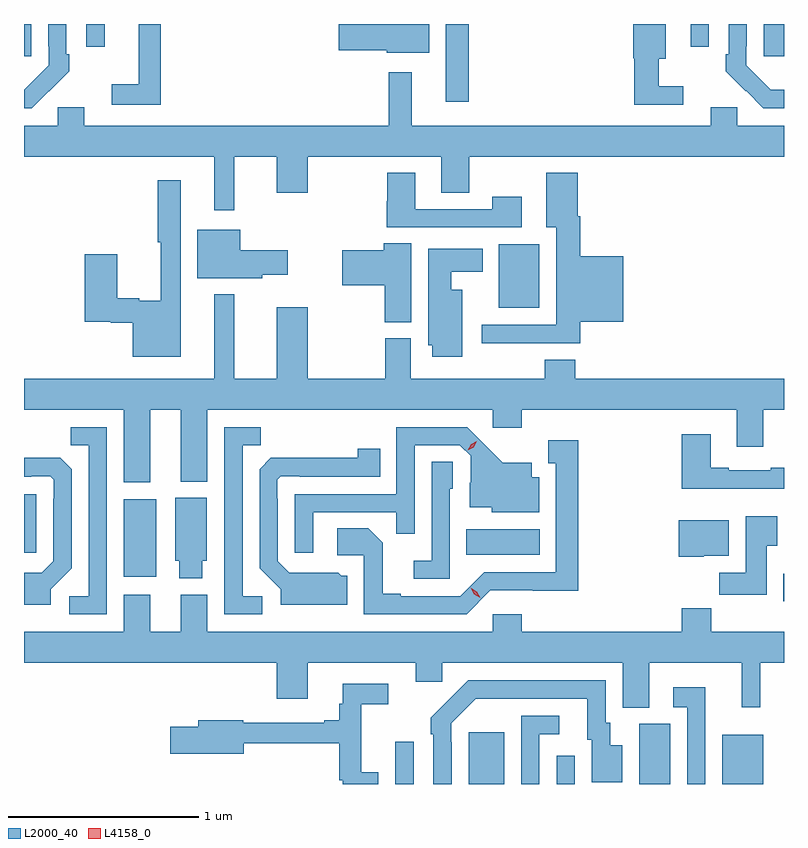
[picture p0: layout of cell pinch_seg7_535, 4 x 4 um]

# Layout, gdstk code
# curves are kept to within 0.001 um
import gdstk
lib = gdstk.Library(unit=1e-6, precision=1e-09)
def R(c, l, rs):  # rectangles x0, y0, x1, y1
    for r in rs: c.add(gdstk.rectangle(r[:2], r[2:], *l))
def P(c, l, *ps):  # polygons
    for p in ps: c.add(gdstk.Polygon(p, *l))
L2000_40 = (2000, 40)
L4158_0 = (4158, 0)

pinch_seg7_535 = lib.new_cell('pinch_seg7_535')
R(pinch_seg7_535, L2000_40, [(141.657,1042.603,141.753,1042.825), (142.043,1042.603,142.231,1042.876), (142.506,1042.603,142.602,1042.753), (142.94,1042.603,143.104,1042.92), (143.378,1042.603,143.593,1042.861), (143.699,1043.564,143.703,1043.71), (140.228,1043.694,140.398,1044.103), (142.03,1043.81,142.417,1043.944), (139.703,1043.82,139.767,1044.129), (142.202,1045.109,142.414,1045.444), (141.923,1046.193,142.045,1046.603), (139.703,1046.433,139.741,1046.603), (143.597,1046.433,143.703,1046.603), (140.031,1046.484,140.127,1046.603), (143.211,1046.484,143.307,1046.603)])
P(pinch_seg7_535, L2000_40, [(143.703,1046.257),(143.634,1046.257),(143.505,1046.385),(143.505,1046.485),(143.508,1046.485),(143.508,1046.603),(143.412,1046.603),(143.412,1046.443),(143.397,1046.443),(143.397,1046.355),(143.594,1046.16),(143.703,1046.16)],
  [(139.835,1046.251),(139.836,1046.25),(139.941,1046.355),(139.941,1046.443),(139.926,1046.443),(139.926,1046.603),(139.83,1046.603),(139.83,1046.485),(139.833,1046.485),(139.833,1046.385),(139.705,1046.257),(139.703,1046.257),(139.703,1046.16),(139.744,1046.16)],
  [(141.835,1046.603),(141.36,1046.603),(141.36,1046.464),(141.612,1046.464),(141.612,1046.453),(141.835,1046.453)],
  [(140.423,1046.603),(140.306,1046.603),(140.306,1046.287),(140.166,1046.287),(140.166,1046.178),(140.423,1046.178)],
  [(143.173,1046.275),(143.044,1046.275),(143.044,1046.42),(143.08,1046.42),(143.08,1046.603),(142.91,1046.603),(142.91,1046.424),(142.915,1046.424),(142.915,1046.178),(143.173,1046.178)],
  [(140.809,1045.904),(141.032,1045.904),(141.032,1045.716),(141.196,1045.716),(141.196,1045.904),(141.899,1045.904),(141.899,1045.714),(142.047,1045.714),(142.047,1045.904),(143.703,1045.904),(143.703,1046.068),(143.457,1046.068),(143.457,1046.166),(143.318,1046.166),(143.318,1046.068),(141.745,1046.068),(141.745,1046.35),(141.624,1046.35),(141.624,1046.068),(140.02,1046.068),(140.02,1046.166),(139.881,1046.166),(139.881,1046.068),(139.703,1046.068),(139.703,1045.904),(140.705,1045.904),(140.705,1045.623),(140.809,1045.623)],
  [(142.324,1045.693),(142.168,1045.693),(142.168,1045.629),(141.763,1045.629),(141.763,1045.819),(141.616,1045.819),(141.616,1045.671),(141.611,1045.671),(141.611,1045.533),(142.324,1045.533)],
  [(142.631,1045.037),(142.858,1045.037),(142.858,1045.381),(142.631,1045.381),(142.631,1045.592),(142.618,1045.592),(142.618,1045.819),(142.451,1045.819),(142.451,1045.532),(142.505,1045.532),(142.505,1045.02),(142.113,1045.02),(142.113,1044.923),(142.631,1044.923)],
  [(140.527,1045.78),(140.406,1045.78),(140.406,1045.455),(140.423,1045.455),(140.423,1045.147),(140.309,1045.147),(140.309,1045.16),(140.194,1045.16),(140.194,1045.39),(140.024,1045.39),(140.024,1045.037),(140.16,1045.037),(140.16,1045.03),(140.276,1045.03),(140.276,1044.851),(140.527,1044.851)],
  [(140.958,1045.283),(141.091,1045.283),(141.091,1045.413),(140.842,1045.413),(140.842,1045.519),(140.615,1045.519),(140.615,1045.265),(140.958,1045.265)],
  [(141.742,1045.448),(141.596,1045.448),(141.596,1045.412),(141.378,1045.412),(141.378,1045.228),(141.601,1045.228),(141.601,1045.033),(141.742,1045.033)],
  [(142.009,1045.204),(141.952,1045.204),(141.952,1045.298),(142.117,1045.298),(142.117,1045.42),(141.83,1045.42),(141.83,1044.912),(141.851,1044.912),(141.851,1044.852),(142.009,1044.852)],
  [(140.368,1044.572),(140.528,1044.572),(140.528,1044.194),(140.668,1044.194),(140.668,1044.572),(142.17,1044.572),(142.17,1044.477),(142.322,1044.477),(142.322,1044.572),(143.453,1044.572),(143.453,1044.378),(143.593,1044.378),(143.593,1044.572),(143.703,1044.572),(143.703,1044.736),(142.604,1044.736),(142.604,1044.835),(142.444,1044.835),(142.444,1044.736),(141.739,1044.736),(141.739,1044.948),(141.604,1044.948),(141.604,1044.736),(141.196,1044.736),(141.196,1045.111),(141.032,1045.111),(141.032,1044.736),(140.809,1044.736),(140.809,1045.18),(140.705,1045.18),(140.705,1044.736),(139.703,1044.736),(139.703,1044.572),(140.228,1044.572),(140.228,1044.192),(140.368,1044.192)],
  [(141.225,1044.033),(141.661,1044.033),(141.661,1043.92),(141.759,1043.92),(141.759,1044.387),(141.996,1044.387),(142.053,1044.33),(142.053,1044.188),(142.049,1044.188),(142.049,1044.059),(142.164,1044.059),(142.164,1044.032),(142.414,1044.032),(142.414,1044.217),(142.375,1044.217),(142.375,1044.295),(142.223,1044.295),(142.036,1044.48),(141.663,1044.48),(141.663,1044.129),(141.129,1044.129),(141.129,1043.82),(141.225,1043.82)],
  [(140.139,1044.48),(139.948,1044.48),(139.948,1044.385),(140.043,1044.385),(140.043,1043.592),(139.941,1043.592),(139.941,1043.496),(140.139,1043.496)],
  [(140.956,1043.592),(140.853,1043.592),(140.853,1044.385),(140.949,1044.385),(140.949,1044.48),(140.757,1044.48),(140.757,1043.496),(140.956,1043.496)],
  [(143.703,1044.268),(143.633,1044.268),(143.633,1044.255),(143.413,1044.255),(143.413,1044.268),(143.317,1044.268),(143.317,1044.445),(143.165,1044.445),(143.165,1044.158),(143.703,1044.158)],
  [(142.158,1043.622),(142.621,1043.621),(142.621,1044.412),(142.463,1044.412),(142.463,1044.291),(142.502,1044.291),(142.502,1043.718),(142.125,1043.718),(141.999,1043.592),(141.685,1043.592),(141.685,1043.605),(141.591,1043.605),(141.591,1043.872),(141.515,1043.948),(141.351,1043.948),(141.351,1043.808),(141.492,1043.808),(141.492,1043.496),(142.032,1043.496)],
  [(141.403,1043.7),(141.372,1043.7),(141.356,1043.716),(141.099,1043.715),(141.039,1043.775),(141.039,1044.104),(141.036,1044.104),(141.036,1044.204),(141.054,1044.222),(141.154,1044.222),(141.154,1044.219),(141.578,1044.219),(141.578,1044.367),(141.46,1044.367),(141.46,1044.32),(141.002,1044.319),(140.943,1044.26),(140.943,1043.738),(141.053,1043.628),(141.053,1043.546),(141.403,1043.546)],
  [(139.843,1043.628),(139.953,1043.738),(139.953,1044.26),(139.894,1044.319),(139.703,1044.32),(139.703,1044.219),(139.742,1044.219),(139.742,1044.222),(139.842,1044.222),(139.86,1044.204),(139.86,1044.104),(139.857,1044.104),(139.857,1043.775),(139.797,1043.715),(139.703,1043.715),(139.703,1043.546),(139.843,1043.546)],
  [(141.945,1044.156),(141.96,1044.156),(141.96,1044.299),(141.849,1044.299),(141.849,1043.779),(141.753,1043.779),(141.753,1043.682),(141.945,1043.682)],
  [(140.641,1043.778),(140.665,1043.778),(140.665,1044.109),(140.498,1044.109),(140.498,1043.778),(140.519,1043.778),(140.519,1043.687),(140.641,1043.687)],
  [(143.611,1043.857),(143.668,1043.857),(143.668,1044.013),(143.501,1044.013),(143.501,1043.716),(143.362,1043.716),(143.362,1043.598),(143.611,1043.598)],
  [(143.28,1043.804),(143.413,1043.804),(143.413,1043.992),(143.15,1043.992),(143.15,1043.798),(143.28,1043.798)],
  [(142.993,1043.24),(143.48,1043.24),(143.48,1043.007),(143.579,1043.007),(143.579,1043.24),(143.703,1043.24),(143.703,1043.404),(143.321,1043.404),(143.321,1043.528),(143.165,1043.528),(143.165,1043.404),(142.322,1043.404),(142.322,1043.497),(142.17,1043.497),(142.17,1043.404),(140.668,1043.404),(140.668,1043.599),(140.528,1043.599),(140.528,1043.404),(140.368,1043.404),(140.368,1043.599),(140.228,1043.599),(140.228,1043.404),(139.703,1043.404),(139.703,1043.24),(141.032,1043.24),(141.032,1043.052),(141.196,1043.052),(141.196,1043.24),(141.764,1043.24),(141.764,1043.142),(141.903,1043.142),(141.903,1043.24),(142.853,1043.24),(142.853,1043.005),(142.993,1043.005)],
  [(141.954,1042.823),(141.951,1042.823),(141.951,1042.923),(142.08,1043.052),(142.667,1043.052),(142.667,1042.836),(142.691,1042.836),(142.691,1042.611),(142.852,1042.611),(142.852,1042.807),(142.789,1042.807),(142.789,1042.926),(142.764,1042.926),(142.764,1043.148),(142.04,1043.148),(141.843,1042.953),(141.843,1042.865),(141.858,1042.865),(141.858,1042.603),(141.954,1042.603)],
  [(141.568,1042.666),(141.479,1042.666),(141.479,1043.022),(141.619,1043.022),(141.619,1043.13),(141.38,1043.13),(141.38,1043.025),(141.361,1043.025),(141.361,1042.939),(141.284,1042.939),(141.284,1042.926),(140.856,1042.926),(140.856,1042.939),(140.621,1042.939),(140.621,1042.905),(140.472,1042.905),(140.472,1042.763),(140.86,1042.763),(140.86,1042.818),(141.361,1042.818),(141.361,1042.623),(141.38,1042.623),(141.38,1042.603),(141.568,1042.603)],
  [(143.289,1043.113),(143.121,1043.113),(143.121,1043.007),(143.193,1043.007),(143.193,1042.603),(143.289,1042.603)],
  [(142.416,1042.866),(142.519,1042.866),(142.519,1042.962),(142.32,1042.962),(142.32,1042.603),(142.416,1042.603)])
P(pinch_seg7_535, L4158_0, [(142.039,1044.36),(142.039,1044.36),(142.056,1044.39),(142.087,1044.406),(142.087,1044.406),(142.087,1044.406),(142.07,1044.376),(142.039,1044.36)],
  [(142.105,1043.583),(142.073,1043.602),(142.055,1043.635),(142.055,1043.635),(142.055,1043.635),(142.087,1043.616),(142.105,1043.583),(142.105,1043.583)])

lib.write_gds('pinch_seg7_535.gds')
